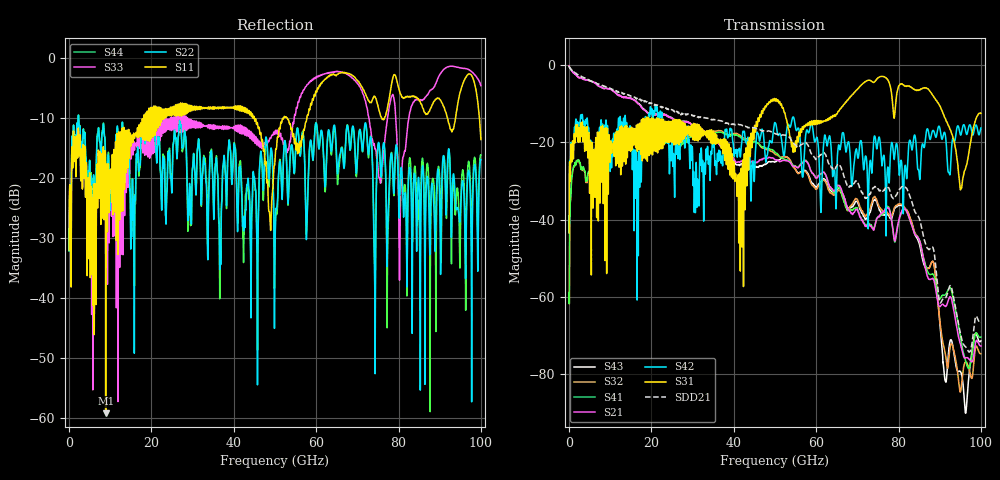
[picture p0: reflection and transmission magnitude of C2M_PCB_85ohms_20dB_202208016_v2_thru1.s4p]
! Info: Touchstone file created by Circ.  Input file=Intel_C2M_200G_7p0in_202208016_staggered.circ
# Hz S RI R 50
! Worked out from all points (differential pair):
!   10000 points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, 10 MHz to 100 GHz, reference 50 ohm
!   strongest paths, dB at 10 MHz, 25.01 GHz, 50.01 GHz, 75.01 GHz, 100 GHz:
!     S31: -43.5, -18.0, -9.1, -3.3, -12.5
!     S42: -43.5, -19.3, -14.9, -19.8, -16.3
!     S21: -0.2, -13.8, -24.5, -39.3, -72.8
!     S41: -59.6, -19.5, -22.5, -39.3, -70.4
!     S32: -59.6, -19.1, -23.0, -35.8, -74.8
!     S43: -0.2, -13.7, -25.1, -36.4, -71.4
!   taken as a pair (ports 1,3 in; 2,4 out), SDD21 dB: -0.2, -11.5, -17.7, -32.0, -66.8
!   lowest |S11| = -59.2 dB at 8.89 GHz (marker M1), VSWR 1.00, Z = 50.1 - j0.0806 ohm
!   |S11| at or under -10 dB: start of sweep to 18.12 GHz; 44.99 GHz to 52.14 GHz (7.144 GHz wide, 14.7 % of centre); 52.93 GHz to 57.74 GHz (4.81 GHz wide, 8.69 % of centre)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
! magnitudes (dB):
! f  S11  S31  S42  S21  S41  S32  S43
! 10 MHz  -32.0  -43.5  -43.5  -0.2  -59.6  -59.6  -0.2
! 1.32 GHz  -15.6  -18.0  -16.1  -2.1  -26.1  -26.1  -2.1
! 8.89 GHz  -59.2  -16.7  -14.8  -6.0  -22.5  -22.4  -6.0
! 65.06 GHz  -2.8  -12.6  -26.0  -31.4  -31.8  -32.7  -32.3
! 80.71 GHz  -6.4  -4.8  -24.9  -38.0  -38.2  -36.0  -36.3
! 91.32 GHz  -8.8  -13.7  -17.8  -62.5  -59.5  -74.5  -81.7
! 100 GHz  -13.6  -12.5  -16.3  -72.8  -70.4  -74.8  -71.4
